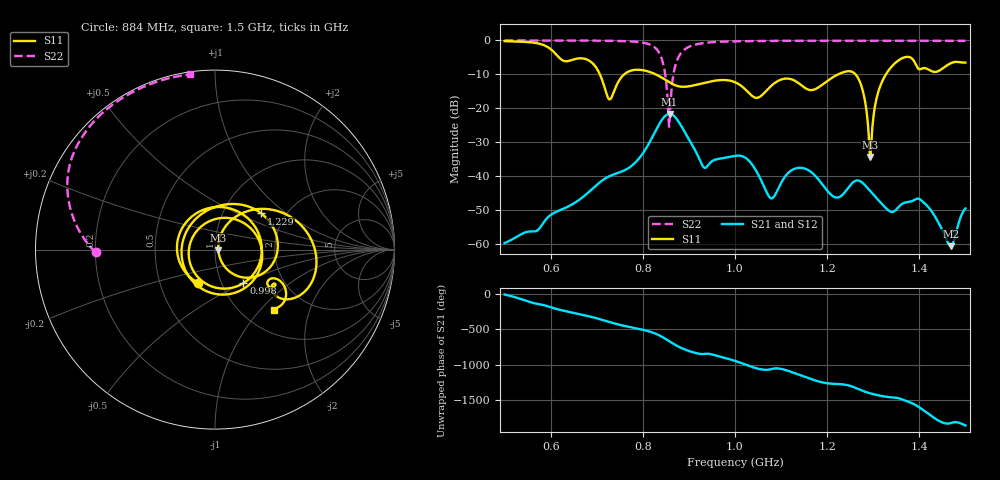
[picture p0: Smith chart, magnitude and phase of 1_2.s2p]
! TOUCHSTONE file generated by CST MICROWAVE STUDIO
! Date and time: Mon Nov 30 09:05:33 2020
! Project name: Scenario_1_Planar_Body_Tissue_Out_of_Line_v2.cst
! Parameters = {dy1=-346; L_HA=400; Ltissue=700; MT=2.54; Rad_Dielectric=30; Rad_Lower=7.3; Rad_Upper=30; Wtissue=700; a_HA=580; a_WG=246; b_HA=500; b_WG=121; c_HA=0; c_WG=187; d_feed=85; dx1=346; h_feed=15; h_lower=18; h_upper=40; hfat=3; hgap=25; hmuscle=50; hskin=1.5}
! Header version: 2018
! Port assignment regex: !\s*Touchstone port\s*([0-9]+)\s*=\s*(CST MWS port|CST DS port)\s*([0-9]+|Zmin|Zmax)\s*\(\"(.*)\"\)(\s*mode\s*([0-9]+))?.*
! Touchstone port assignment:
! Touchstone port 1 = CST MWS port 1 ("")
! Touchstone port 2 = CST MWS port 2 ("")
# GHz S DB R 50
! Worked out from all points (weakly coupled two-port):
!   1003 points, 500 MHz to 1.5 GHz, reference 50 ohm
!   highest |S21| = -21.68 dB at 858 MHz (marker M1); lowest = -60.7 dB at 1.468 GHz (marker M2)
!   lowest |S11| = -34.4 dB at 1.293 GHz (marker M3), VSWR 1.04, Z = 51.9 - j0.4 ohm
!   |S11| at or under -10 dB: 706.7 MHz to 759.6 MHz (52.89 MHz wide, 7.21 % of centre); 827.6 MHz to 1.224 GHz (396.3 MHz wide, 38.6 % of centre); 1.262 GHz to 1.328 GHz (66.03 MHz wide, 5.1 % of centre)
!   |S22| runs from -25.5 to 0.0 dB; largest |S21 - S12| = 1e-05
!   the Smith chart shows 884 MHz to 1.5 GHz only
!   S11 on the Smith chart (normalised r, x): 884 MHz: 0.78, -0.30; 998 MHz: 1.27, -0.50; 1.229 GHz: 1.51, +0.68; 1.5 GHz: 1.38, -1.20
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0.5  -0.22 -121.7  -59.78 -11.8  -59.78 -11.8  -0.01 151.2
0.577  -1.03 -164.2  -55.22 -148.6  -55.22 -148.6  -0.02 145.9
0.667  -5.28 150.7  -46.50 65.2  -46.50 65.2  -0.04 138.4
0.697  -7.68 99.6  -42.98 18.4  -42.98 18.4  -0.06 135.2
0.728  -17.41 -37.7  -40.00 -40.4  -40.00 -40.4  -0.11 131.2
0.773  -8.96 165.1  -37.26 -111.8  -37.26 -111.8  -0.28 122.3
0.834  -10.43 39.4  -25.07 137.4  -25.07 137.4  -3.34 82.5
0.858  -12.40 -28.2  -21.68 47.3  -21.68 47.3  -24.06 -83.0
0.884  -13.66 -116.6  -25.39 -47.7  -25.39 -47.7  -3.54 -178.6
0.935  -12.46 85.3  -37.60 -126.9  -37.60 -126.9  -0.72 152.9
0.998  -12.22 -49.7  -34.08 136.7  -34.08 136.7  -0.28 140.5
1  -12.32 -54.2  -34.04 132.5  -34.04 132.5  -0.27 140.2
1.078  -13.47 48.1  -46.55 15.3  -46.55 15.3  -0.14 131.7
1.128  -11.76 -75.2  -37.92 -37.4  -37.92 -37.4  -0.11 127.3
1.167  -14.64 161.7  -39.02 -128.7  -39.02 -128.7  -0.10 124.2
1.229  -9.70 38.0  -46.00 163.5  -46.00 163.5  -0.09 119.4
1.27  -11.88 -37.7  -41.43 87.8  -41.43 87.8  -0.09 116.4
1.293  -34.38 -11.6  -44.34 35.4  -44.34 35.4  -0.08 114.6
1.334  -8.71 38.0  -50.23 -18.1  -50.23 -18.1  -0.09 111.5
1.401  -8.52 -31.3  -46.84 -167.9  -46.84 -167.9  -0.09 106.3
1.468  -6.74 -30.8  -60.69 -25.2  -60.69 -25.2  -0.11 100.8
1.5  -6.54 -45.5  -49.57 -58.5  -49.57 -58.5  -0.13 98.0
